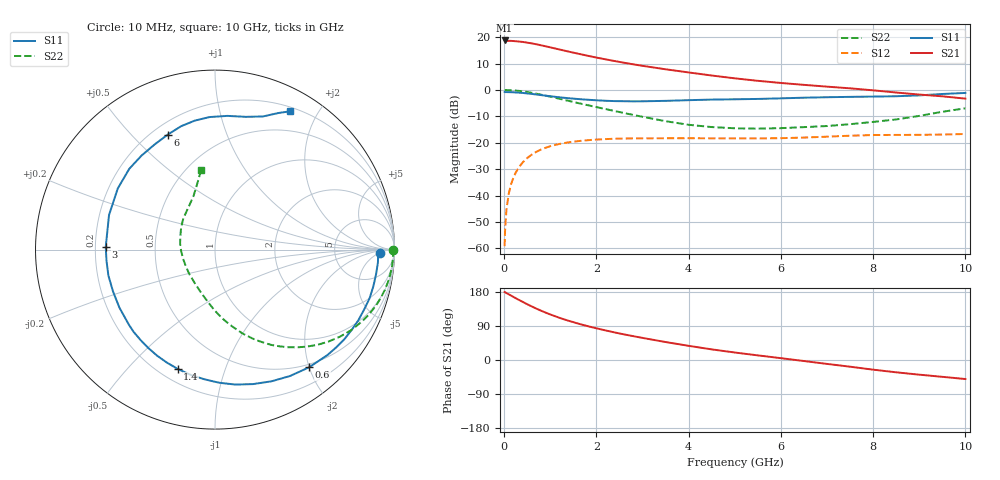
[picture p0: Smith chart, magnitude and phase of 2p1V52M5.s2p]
! (c) 2009  Infineon Technologies AG, Munich
! Infineon Technologies  Discrete & RF Semiconductors
! BFP420
! VCE =  1.5 V,  IC =  2.5 mA
! Common Emitter S-Parameters:  Nov 2009
# GHz  S  MA  R  50
!  f  S11  S21  S12  S22
! GHz  MAG  ANG  MAG  ANG  MAG  ANG  MAG  ANG
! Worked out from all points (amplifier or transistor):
!   46 points, 10 MHz to 10 GHz, reference 50 ohm
!   highest |S21| = 18.7 dB at 10 MHz (marker M1)
!   |S21| within 3 dB of that: start of sweep to 1.096 GHz
!   unconditionally stable (mu >= 1): 3.701 GHz to end of sweep
!   at 300 MHz: K = 0.05, MSG = 24.1 dB, |S12| = -29.8 dB
!   at 1.7 GHz: K = 0.41, MSG = 16.3 dB, |S12| = -19.2 dB
!   at 10 GHz: K = 1.18, MAG = 4.1 dB, |S12| = -16.7 dB
!   lowest NFmin = 0.55 dB at 900 MHz
!   S11 on the Smith chart (normalised r, x): 10 MHz: 22, -5; 600 MHz: 0.45, -2.00; 1.4 GHz: 0.27, -0.70; 3 GHz: 0.24, +0.01; 6 GHz: 0.26, +0.64; 10 GHz: 0.25, +1.65
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0.01  0.9172 -1.2  8.645 179.3  0.0011 84.4  0.9913 0.0
0.02  0.9089 -1.8  8.417 179.0  0.0022 86.2  0.993 -1.0
0.05  0.9106 -4.5  8.46 176.6  0.0054 86.7  0.9931 -2.6
0.15  0.9056 -13.1  8.479 169.9  0.0164 82.9  0.9864 -8.0
0.3  0.8906 -26.2  8.294 159.9  0.0322 75.4  0.9632 -15.9
0.4  0.8768 -34.7  8.105 153.5  0.0421 70.4  0.9399 -21.0
0.6  0.8398 -51.3  7.6 141.2  0.0598 61.3  0.8818 -30.6
0.7  0.819 -59.3  7.317 135.5  0.0675 57.1  0.8482 -34.9
0.9  0.7787 -74.2  6.703 125.0  0.0804 49.5  0.7794 -42.9
1.2  0.7247 -94.8  5.831 111.3  0.0949 39.9  0.6792 -53.2
1.4  0.6963 -107.4  5.316 103.4  0.1019 34.5  0.6192 -59.2
1.7  0.6619 -124.3  4.658 92.9  0.1095 27.7  0.54 -66.9
2.2  0.6231 -148.7  3.793 78.0  0.1172 18.7  0.434 -77.9
2.6  0.6113 -166.3  3.274 67.6  0.1201 12.8  0.3653 -86.5
3  0.609 178.6  2.862 58.3  0.1213 8.2  0.3101 -94.8
3.5  0.6211 161.9  2.46 47.4  0.1215 3.5  0.2558 -107.0
4.5  0.6563 136.7  1.876 28.0  0.1213 -3.1  0.1981 -135.9
5.5  0.6754 119.9  1.488 12.2  0.1209 -6.8  0.1849 -163.5
6  0.6927 112.3  1.355 4.8  0.122 -7.8  0.1889 -177.5
7  0.7275 98.9  1.154 -10.3  0.1302 -10.6  0.2072 158.5
8.5  0.7591 77.0  0.893 -32.5  0.1406 -20.0  0.2761 122.8
10  0.8769 61.5  0.684 -50.2  0.1465 -25.7  0.4493 99.9
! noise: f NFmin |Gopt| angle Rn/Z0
0.9  0.55  0.41  33  0.2
1.8  1.02  0.24  78  0.16
2.4  1.11  0.26  103  0.15
3  1.28  0.27  140  0.11
4  1.5  0.34  -163  0.1
5  1.85  0.4  -130  0.26
6  2.56  0.5  -109  0.35
